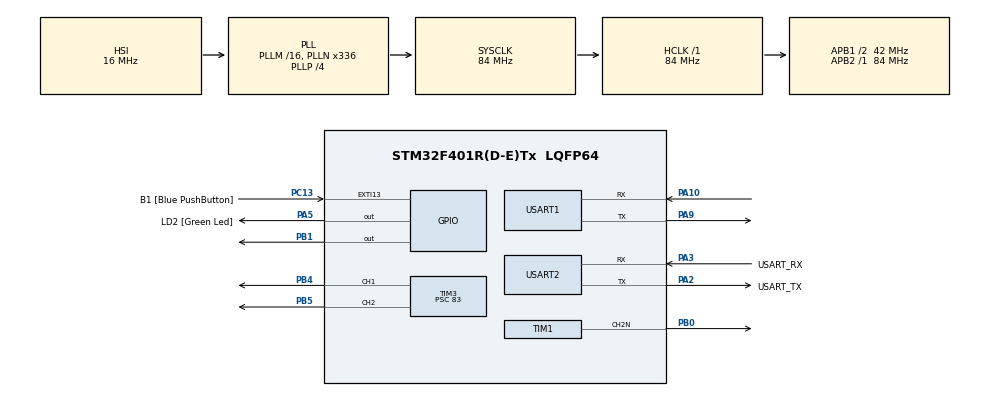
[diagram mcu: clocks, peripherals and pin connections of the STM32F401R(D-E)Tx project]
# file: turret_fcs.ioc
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Mcu.Family=STM32F4
Mcu.Name=STM32F401R(D-E)Tx
Mcu.Package=LQFP64
NVIC.EXTI15_10_IRQn=true\:0\:0\:true\:false\:true\:true\:true\:true
NVIC.PriorityGroup=NVIC_PRIORITYGROUP_0
NVIC.USART1_IRQn=true\:0\:0\:false\:false\:true\:true\:true\:true
NVIC.USART2_IRQn=true\:0\:1\:false\:false\:true\:true\:true\:true
PA10.Mode=Asynchronous
PA10.Signal=USART1_RX
PA13.GPIO_Label=TMS
PA13.Mode=Serial_Wire
PA13.Signal=SYS_JTMS-SWDIO
PA14.GPIO_Label=TCK
PA14.Mode=Serial_Wire
PA14.Signal=SYS_JTCK-SWCLK
PA2.GPIO_Label=USART_TX
PA2.GPIO_Mode=GPIO_MODE_AF_PP
PA2.GPIO_PuPd=GPIO_NOPULL
PA2.GPIO_Speed=GPIO_SPEED_FREQ_LOW
PA2.Mode=Asynchronous
PA2.Signal=USART2_TX
PA3.GPIO_Label=USART_RX
PA3.GPIO_Mode=GPIO_MODE_AF_PP
PA3.GPIO_PuPd=GPIO_NOPULL
PA3.GPIO_Speed=GPIO_SPEED_FREQ_LOW
PA3.Mode=Asynchronous
PA3.Signal=USART2_RX
PA5.GPIO_Label=LD2 [Green Led]
PA5.GPIO_Mode=GPIO_MODE_OUTPUT_PP
PA5.GPIO_PuPd=GPIO_NOPULL
PA5.GPIO_Speed=GPIO_SPEED_FREQ_LOW
PA5.Signal=GPIO_Output
PA9.Mode=Asynchronous
PA9.Signal=USART1_TX
PB0.Mode=PWM Generation2 CH2N
PB0.Signal=TIM1_CH2N
PB1.Signal=GPIO_Output
PB3.GPIO_Label=SWO
PB3.Signal=SYS_JTDO-SWO
PB4.Signal=S_TIM3_CH1
PB5.Signal=S_TIM3_CH2
PC13-ANTI_TAMP.GPIO_Label=B1 [Blue PushButton]
PC13-ANTI_TAMP.GPIO_ModeDefaultEXTI=GPIO_MODE_IT_FALLING
PC13-ANTI_TAMP.GPIO_PuPd=GPIO_PULLUP
PC13-ANTI_TAMP.Signal=GPXTI13
PC14-OSC32_IN.Signal=RCC_OSC32_IN
PC15-OSC32_OUT.Signal=RCC_OSC32_OUT
PH0\ -\ OSC_IN.Mode=HSE-External-Oscillator
PH0\ -\ OSC_IN.Signal=RCC_OSC_IN
PH1\ -\ OSC_OUT.Mode=HSE-External-Oscillator
PH1\ -\ OSC_OUT.Signal=RCC_OSC_OUT
ProjectManager.HeapSize=0x200
ProjectManager.StackSize=0x400
ProjectManager.TargetToolchain=STM32CubeIDE
RCC.AHBFreq_Value=84000000
RCC.APB1CLKDivider=RCC_HCLK_DIV2
RCC.APB1Freq_Value=42000000
RCC.APB1TimFreq_Value=84000000
RCC.APB2Freq_Value=84000000
RCC.APB2TimFreq_Value=84000000
RCC.CortexFreq_Value=84000000
RCC.HCLKFreq_Value=84000000
RCC.HSE_VALUE=8000000
RCC.HSI_VALUE=16000000
RCC.LSE_VALUE=32768
RCC.PLLN=336
RCC.PLLP=RCC_PLLP_DIV4
RCC.PLLQ=7
RCC.SYSCLKFreq_VALUE=84000000
RCC.SYSCLKSource=RCC_SYSCLKSOURCE_PLLCLK
RCC.VCOOutputFreq_Value=336000000
SH.S_TIM3_CH1.0=TIM3_CH1,PWM Generation1 CH1
SH.S_TIM3_CH2.0=TIM3_CH2,Output Compare2 CH2
TIM1.AutomaticOutput=TIM_AUTOMATICOUTPUT_ENABLE
TIM1.Channel-PWM\ Generation2\ CH2N=TIM_CHANNEL_2
TIM1.Period=4199
TIM3.Channel-Output\ Compare2\ CH2=TIM_CHANNEL_2
TIM3.Channel-PWM\ Generation1\ CH1=TIM_CHANNEL_1
TIM3.Period=19999
TIM3.Prescaler=83
USART1.VirtualMode=VM_ASYNC
USART2.VirtualMode=VM_ASYNC
board=NUCLEO-F401RE

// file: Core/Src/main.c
/* USER CODE BEGIN Header */
/**
  ******************************************************************************
  * @file           : main.c
  * @brief          : Turret FCS Main Controller Firmware
  *                   - TF-Luna LiDAR Reader (USART1)
  *                   - Full-Duplex Binary FCS Protocol (USART2)
  *                   - Pan/Tilt MG996R Servos (TIM3 / TIM1)
  ******************************************************************************
  */
/* USER CODE END Header */
#include "main.h"

/* USER CODE BEGIN Includes */
#include "luna_read.h"
#include "servo_driver.h"
#include "fcs_comm.h"
#include "flywheel_solenoid.h"
/* USER CODE END Includes */

/* USER CODE BEGIN PD */
/*
 * Fiziksel ates yolu guvenlik nedeniyle varsayilan olarak KAPALI.
 * Laboratuvar/donanim testinde acmak icin 1 yapin.
 */
#ifndef ENABLE_PHYSICAL_FIRE
#define ENABLE_PHYSICAL_FIRE 1
#endif

/*
 * Zaman Asimlari (ms)
 * - 300 ms: PC komut akisi kesildi -> firlaticiyi fail-safe durdur.
 * - 2000 ms: PC kalici olarak yok -> servolari yumusakca merkeze al.
 *            Aksi halde iki MG996R son konumda surekli stall akimi ceker.
 */
#define FCS_CMD_TIMEOUT_MS    300u
#define SERVO_PARK_TIMEOUT_MS 2000u

/*
 * Bagimsiz Watchdog (IWDG)
 * LSI ~32 kHz, prescaler /64 -> 500 Hz (2 ms/sayac), reload 400 -> 800 ms.
 * LSI toleransi (~17-47 kHz) nedeniyle gercek pencere ~540-1900 ms arasinda
 * degisir; bu, ~11 ms'lik dongu periyoduna karsi bolca marj birakir.
 */
#define IWDG_PRESCALER        IWDG_PRESCALER_64
#define IWDG_RELOAD_COUNTS    400u
/* USER CODE END PD */

TIM_HandleTypeDef htim1;
TIM_HandleTypeDef htim3;

UART_HandleTypeDef huart1;
UART_HandleTypeDef huart2;

/* USER CODE BEGIN PV */
IWDG_HandleTypeDef hiwdg;
/*
 * B1 mavi buton (PC13/EXTI13) mandalli yazilim E-stop'u:
 * Her basista mandal terslenir. Mandal aktifken PC komutlari yok sayilir,
 * launcher kesilir ve servolar hiz sinirli sekilde merkeze cekilir.
 */
static volatile bool b1_estop_latched = false;
static volatile bool b1_press_event = false;
static uint32_t b1_last_edge_ms = 0;
/* USER CODE END PV */

void SystemClock_Config(void);
static void MX_GPIO_Init(void);
static void MX_USART1_UART_Init(void);
static void MX_USART2_UART_Init(void);
static void MX_TIM1_Init(void);
static void MX_TIM3_Init(void);
/* USER CODE BEGIN PFP */
static void MX_IWDG_Init(void);

/* USER CODE END PFP */

int main(void)
{

  /* MCU Configuration--------------------------------------------------------*/

  /* Reset of all peripherals, Initializes the Flash interface and the Systick. */
  HAL_Init();

  /* USER CODE BEGIN Init */
  /* Watchdog'u mumkun olan en erken anda baslat: sonraki herhangi bir
     kilitlenme (saat yapilandirmasi dahil) artik reset ile kurtarilir. */
  MX_IWDG_Init();
  /* USER CODE END Init */

  /* Configure the system clock */
  SystemClock_Config();

  /* Initialize all configured peripherals */
  MX_GPIO_Init();
  MX_USART1_UART_Init();
  MX_USART2_UART_Init();
  MX_TIM1_Init();
  MX_TIM3_Init();
  /* USER CODE BEGIN 2 */
  /* Modulleri Baslat ---------------------------------------------------------*/
  Luna_Init(&huart1);
  FCS_Comm_Init(&huart2);
  Servo_Init();
  Launcher_Init(); // Pinleri guvenli PULLDOWN ve LOW (0V) durumuna kilitler

  uint32_t last_pc_cmd_time = HAL_GetTick();
  bool servos_park = false;  // Yumusak merkez donusu (E-stop veya link kaybi)
#if ENABLE_PHYSICAL_FIRE
  static uint8_t prev_fcs_state = PROTO_STATE_TRACKING;
#endif
  uint32_t last_led_time = 0;
  /* USER CODE END 2 */

  /* Infinite loop */
  while (1)
  {

    /* USER CODE BEGIN 3 */
    // 0. Watchdog beslemesi: dongu saglikliysa IWDG sayaci sifirlanir.
    //    Herhangi bir kilitlenmede IWDG reset atar ve pinler tekrar LOW'a cekilir.
    HAL_IWDG_Refresh(&hiwdg);

    // 1. Sabit ~100 Hz Periyodik Telemetri: LiDAR'dan bagimsiz periyodik gonderim
    // (LiDAR kopuk veya gecikmeli olsa bile servo geri bildirimi ve odometri asla kesilmez)
    uint16_t dist = Luna_GetDistance();
    uint16_t strength = Luna_GetStrength();
    FCS_Comm_SendTelemetry(dist, strength, Servo_GetPan(), Servo_GetTilt());

    // 2. B1 mavi buton: her basista E-stop mandalini degistir.
    //    Mandal aktifken PC komutlari yok sayilir; launcher kesilir ve servolar parka alinir.
    if (b1_press_event)
    {
      b1_press_event = false;
      b1_estop_latched = !b1_estop_latched;
      if (b1_estop_latched)
      {
        Launcher_EmergencyStop();
        servos_park = true;
#if ENABLE_PHYSICAL_FIRE
        prev_fcs_state = PROTO_STATE_TRACKING;
#endif
      }
      else
      {
        servos_park = false;
      }
    }
    if (b1_estop_latched)
    {
      Launcher_EmergencyStop();
      servos_park = true;
    }

    // 3. PC'den yeni aci duzeltme komutu geldiginde motorlari sur (Atomik okuma ile veri yarisi onlendi)
    float d_pan = 0.0f;
    float d_tilt = 0.0f;
    uint8_t speed_pwm = 0u;
    uint8_t state = 0;
    if (!b1_estop_latched && FCS_Comm_GetCommand(&d_pan, &d_tilt, &speed_pwm, &state))
    {
      last_pc_cmd_time = HAL_GetTick();
      if (state == PROTO_STATE_ESTOP)
      {
        /*
         * Acil Durdurma: firlaticiyi aninda kes, servolari ise BASAMAKSIZ
         * merkeze indir. Dogrudan Servo_SetPan(90) yazmak, MAX_STEP korumasini
         * atlayip servo uzerinde 45 dereceye varan ani tork sokuna yol aciyordu.
         * Artik merkeze inis Servo_HomeStep() ile hiz sinirli yapilir.
         */
        Launcher_EmergencyStop();
        servos_park = true;
#if ENABLE_PHYSICAL_FIRE
        prev_fcs_state = PROTO_STATE_TRACKING;  // E-stop sonrasi yanlis ates kenari olusmasin
#endif
      }
      else
      {
        servos_park = false;  // PC kontrolu geri aldi
        Servo_ApplyCorrection(d_pan, d_tilt);

#if ENABLE_PHYSICAL_FIRE
        /*
         * Ates tetigi, volan enable blogundan ONCE calisir. Aksi halde ayni
         * karede enerjilendirilen volan "hazir" sanilir ve dart devirsiz
         * firlatilirdi. Bu sira ile Launcher_TriggerFire() yalnizca volan
         * onceki karelerde (PC SPINUP fazinda) gercekten hazirsa ates eder.
         */
        if (state == PROTO_STATE_FIRING && prev_fcs_state != PROTO_STATE_FIRING)
        {
          (void)Launcher_TriggerFire();
        }
#endif

        /*
         * Flywheel pre-spin (bosta donme):
         * LOCKED (1) veya FIRING (2) durumunda volanlari enerjilendir.
         * PC'den gelen dinamik speed_pwm (%0-100 duty): 0 ise varsayilan %85 uygulanir.
         * TRACKING (0) veya ESTOP (3) durumunda volanlari kapat.
         */
        if (state == PROTO_STATE_LOCKED || state == PROTO_STATE_FIRING)
        {
          uint8_t target_duty = (speed_pwm > 0u) ? speed_pwm : FLYWHEEL_DEFAULT_DUTY_PCT;
          if (target_duty > 100u) target_duty = 100u;
          Launcher_Flywheel_SetDuty(target_duty);

          if (!Launcher_IsFlywheelActive())
          {
            Launcher_Flywheel_Enable(true);
          }
        }
        else
        {
          if (!Launcher_IsFiring() && Launcher_IsFlywheelActive())
          {
            Launcher_Flywheel_Enable(false);
          }
        }
      }
#if ENABLE_PHYSICAL_FIRE
      prev_fcs_state = (state == PROTO_STATE_ESTOP) ? PROTO_STATE_TRACKING : state;
#endif
    }

    // 4. Heartbeat: PC komut akisi kesilirse firlaticiyi fail-safe durdur.
    if (HAL_GetTick() - last_pc_cmd_time > FCS_CMD_TIMEOUT_MS)
    {
      Launcher_EmergencyStop();
#if ENABLE_PHYSICAL_FIRE
      prev_fcs_state = PROTO_STATE_TRACKING;  // Yeniden baglanmada yanlis ates kenari olusmasin
#endif
    }

    // 5. Uzun sureli PC kaybi: servolari yumusakca merkeze al.
    //    Aksi halde iki MG996R son konumda surekli stall akimi cekip isinir.
    if (HAL_GetTick() - last_pc_cmd_time > SERVO_PARK_TIMEOUT_MS)
    {
      servos_park = true;
    }

    // 6. Yumusak merkez donusu (E-stop veya link kaybi): hiz sinirli, basamaksiz.
    if (servos_park)
    {
      (void)Servo_HomeStep();
    }

    // 7. Sistem Kalp Atisi LED Gostergesi (500 ms periyot - ISR yukunu onler)
    if (HAL_GetTick() - last_led_time >= 500)
    {
      last_led_time = HAL_GetTick();
      HAL_GPIO_TogglePin(LD2_GPIO_Port, LD2_Pin);
    }

    // 8. Firlatici durum makinesi (non-blocking)
    Launcher_Update();

    HAL_Delay(10); // ~90-100 Hz kontrol dongusu (bloklayan telemetri TX dahil)
  }
  /* USER CODE END 3 */
}

void SystemClock_Config(void)
{
  RCC_OscInitTypeDef RCC_OscInitStruct = {0};
  RCC_ClkInitTypeDef RCC_ClkInitStruct = {0};

  /** Configure the main internal regulator output voltage
  */
  __HAL_RCC_PWR_CLK_ENABLE();
  __HAL_PWR_VOLTAGESCALING_CONFIG(PWR_REGULATOR_VOLTAGE_SCALE2);

  /** Initializes the RCC Oscillators according to the specified parameters
  * in the RCC_OscInitTypeDef structure.
  */
  RCC_OscInitStruct.OscillatorType = RCC_OSCILLATORTYPE_HSI;
  RCC_OscInitStruct.HSIState = RCC_HSI_ON;
  RCC_OscInitStruct.HSICalibrationValue = RCC_HSICALIBRATION_DEFAULT;
  RCC_OscInitStruct.PLL.PLLState = RCC_PLL_ON;
  RCC_OscInitStruct.PLL.PLLSource = RCC_PLLSOURCE_HSI;
  RCC_OscInitStruct.PLL.PLLM = 16;
  RCC_OscInitStruct.PLL.PLLN = 336;
  RCC_OscInitStruct.PLL.PLLP = RCC_PLLP_DIV4;
  RCC_OscInitStruct.PLL.PLLQ = 7;
  if (HAL_RCC_OscConfig(&RCC_OscInitStruct) != HAL_OK)
  {
    Error_Handler();
  }

  /** Initializes the CPU, AHB and APB buses clocks
  */
  RCC_ClkInitStruct.ClockType = RCC_CLOCKTYPE_HCLK|RCC_CLOCKTYPE_SYSCLK
                              |RCC_CLOCKTYPE_PCLK1|RCC_CLOCKTYPE_PCLK2;
  RCC_ClkInitStruct.SYSCLKSource = RCC_SYSCLKSOURCE_PLLCLK;
  RCC_ClkInitStruct.AHBCLKDivider = RCC_SYSCLK_DIV1;
  RCC_ClkInitStruct.APB1CLKDivider = RCC_HCLK_DIV2;
  RCC_ClkInitStruct.APB2CLKDivider = RCC_HCLK_DIV1;

  if (HAL_RCC_ClockConfig(&RCC_ClkInitStruct, FLASH_LATENCY_2) != HAL_OK)
  {
    Error_Handler();
  }
}

static void MX_TIM1_Init(void)
{

  TIM_MasterConfigTypeDef sMasterConfig = {0};
  TIM_OC_InitTypeDef sConfigOC = {0};
  TIM_BreakDeadTimeConfigTypeDef sBreakDeadTimeConfig = {0};

  htim1.Instance = TIM1;
  htim1.Init.Prescaler = 0;
  htim1.Init.CounterMode = TIM_COUNTERMODE_UP;
  htim1.Init.Period = 4199;
  htim1.Init.ClockDivision = TIM_CLOCKDIVISION_DIV1;
  htim1.Init.RepetitionCounter = 0;
  htim1.Init.AutoReloadPreload = TIM_AUTORELOAD_PRELOAD_DISABLE;
  if (HAL_TIM_PWM_Init(&htim1) != HAL_OK)
  {
    Error_Handler();
  }
  sMasterConfig.MasterOutputTrigger = TIM_TRGO_RESET;
  sMasterConfig.MasterSlaveMode = TIM_MASTERSLAVEMODE_DISABLE;
  if (HAL_TIMEx_MasterConfigSynchronization(&htim1, &sMasterConfig) != HAL_OK)
  {
    Error_Handler();
  }
  sConfigOC.OCMode = TIM_OCMODE_PWM1;
  sConfigOC.Pulse = 0;
  sConfigOC.OCPolarity = TIM_OCPOLARITY_HIGH;
  sConfigOC.OCNPolarity = TIM_OCNPOLARITY_HIGH;
  sConfigOC.OCFastMode = TIM_OCFAST_DISABLE;
  sConfigOC.OCIdleState = TIM_OCIDLESTATE_RESET;
  sConfigOC.OCNIdleState = TIM_OCNIDLESTATE_RESET;
  if (HAL_TIM_PWM_ConfigChannel(&htim1, &sConfigOC, TIM_CHANNEL_2) != HAL_OK)
  {
    Error_Handler();
  }
  sBreakDeadTimeConfig.OffStateRunMode = TIM_OSSR_DISABLE;
  sBreakDeadTimeConfig.OffStateIDLEMode = TIM_OSSI_DISABLE;
  sBreakDeadTimeConfig.LockLevel = TIM_LOCKLEVEL_OFF;
  sBreakDeadTimeConfig.DeadTime = 0;
  sBreakDeadTimeConfig.BreakState = TIM_BREAK_DISABLE;
  sBreakDeadTimeConfig.BreakPolarity = TIM_BREAKPOLARITY_HIGH;
  sBreakDeadTimeConfig.AutomaticOutput = TIM_AUTOMATICOUTPUT_ENABLE;
  if (HAL_TIMEx_ConfigBreakDeadTime(&htim1, &sBreakDeadTimeConfig) != HAL_OK)
  {
    Error_Handler();
  }
  HAL_TIM_MspPostInit(&htim1);

}

static void MX_TIM3_Init(void)
{

  TIM_MasterConfigTypeDef sMasterConfig = {0};
  TIM_OC_InitTypeDef sConfigOC = {0};

  htim3.Instance = TIM3;
  htim3.Init.Prescaler = 83;
  htim3.Init.CounterMode = TIM_COUNTERMODE_UP;
  htim3.Init.Period = 19999;
  htim3.Init.ClockDivision = TIM_CLOCKDIVISION_DIV1;
  htim3.Init.AutoReloadPreload = TIM_AUTORELOAD_PRELOAD_DISABLE;
  if (HAL_TIM_PWM_Init(&htim3) != HAL_OK)
  {
    Error_Handler();
  }
  if (HAL_TIM_OC_Init(&htim3) != HAL_OK)
  {
    Error_Handler();
  }
  sMasterConfig.MasterOutputTrigger = TIM_TRGO_RESET;
  sMasterConfig.MasterSlaveMode = TIM_MASTERSLAVEMODE_DISABLE;
  if (HAL_TIMEx_MasterConfigSynchronization(&htim3, &sMasterConfig) != HAL_OK)
  {
    Error_Handler();
  }
  sConfigOC.OCMode = TIM_OCMODE_PWM1;
  sConfigOC.Pulse = 0;
  sConfigOC.OCPolarity = TIM_OCPOLARITY_HIGH;
  sConfigOC.OCFastMode = TIM_OCFAST_DISABLE;
  if (HAL_TIM_PWM_ConfigChannel(&htim3, &sConfigOC, TIM_CHANNEL_1) != HAL_OK)
  {
    Error_Handler();
  }
  sConfigOC.OCMode = TIM_OCMODE_TIMING;
  if (HAL_TIM_OC_ConfigChannel(&htim3, &sConfigOC, TIM_CHANNEL_2) != HAL_OK)
  {
    Error_Handler();
  }
  HAL_TIM_MspPostInit(&htim3);

}

static void MX_USART1_UART_Init(void)
{

  huart1.Instance = USART1;
  huart1.Init.BaudRate = 115200;
  huart1.Init.WordLength = UART_WORDLENGTH_8B;
  huart1.Init.StopBits = UART_STOPBITS_1;
  huart1.Init.Parity = UART_PARITY_NONE;
  huart1.Init.Mode = UART_MODE_TX_RX;
  huart1.Init.HwFlowCtl = UART_HWCONTROL_NONE;
  huart1.Init.OverSampling = UART_OVERSAMPLING_16;
  if (HAL_UART_Init(&huart1) != HAL_OK)
  {
    Error_Handler();
  }

}

static void MX_USART2_UART_Init(void)
{

  huart2.Instance = USART2;
  huart2.Init.BaudRate = 115200;
  huart2.Init.WordLength = UART_WORDLENGTH_8B;
  huart2.Init.StopBits = UART_STOPBITS_1;
  huart2.Init.Parity = UART_PARITY_NONE;
  huart2.Init.Mode = UART_MODE_TX_RX;
  huart2.Init.HwFlowCtl = UART_HWCONTROL_NONE;
  huart2.Init.OverSampling = UART_OVERSAMPLING_16;
  if (HAL_UART_Init(&huart2) != HAL_OK)
  {
    Error_Handler();
  }

}

static void MX_GPIO_Init(void)
{
  GPIO_InitTypeDef GPIO_InitStruct = {0};

  /* GPIO Ports Clock Enable */
  __HAL_RCC_GPIOC_CLK_ENABLE();
  __HAL_RCC_GPIOH_CLK_ENABLE();
  __HAL_RCC_GPIOA_CLK_ENABLE();
  __HAL_RCC_GPIOB_CLK_ENABLE();

  /*Configure GPIO pin Output Level */
  HAL_GPIO_WritePin(LD2_GPIO_Port, LD2_Pin, GPIO_PIN_RESET);

  /*Configure GPIO pin Output Level */
  HAL_GPIO_WritePin(GPIOB, GPIO_PIN_1, GPIO_PIN_RESET);

  /*Configure GPIO pin : B1_Pin */
  GPIO_InitStruct.Pin = B1_Pin;
  GPIO_InitStruct.Mode = GPIO_MODE_IT_FALLING;
  GPIO_InitStruct.Pull = GPIO_PULLUP;
  HAL_GPIO_Init(B1_GPIO_Port, &GPIO_InitStruct);

  /*Configure GPIO pin : LD2_Pin */
  GPIO_InitStruct.Pin = LD2_Pin;
  GPIO_InitStruct.Mode = GPIO_MODE_OUTPUT_PP;
  GPIO_InitStruct.Pull = GPIO_NOPULL;
  GPIO_InitStruct.Speed = GPIO_SPEED_FREQ_LOW;
  HAL_GPIO_Init(LD2_GPIO_Port, &GPIO_InitStruct);

  /*Configure GPIO pin : PB1 */
  GPIO_InitStruct.Pin = GPIO_PIN_1;
  GPIO_InitStruct.Mode = GPIO_MODE_OUTPUT_PP;
  GPIO_InitStruct.Pull = GPIO_NOPULL;
  GPIO_InitStruct.Speed = GPIO_SPEED_FREQ_LOW;
  HAL_GPIO_Init(GPIOB, &GPIO_InitStruct);

  /* EXTI interrupt init*/
  HAL_NVIC_SetPriority(EXTI15_10_IRQn, 0, 0);
  HAL_NVIC_EnableIRQ(EXTI15_10_IRQn);

}

/* USER CODE BEGIN 4 */
/**
  * @brief IWDG Initialization Function (Bagimsiz Watchdog, ~800 ms)
  */
static void MX_IWDG_Init(void)
{
  hiwdg.Instance = IWDG;
  hiwdg.Init.Prescaler = IWDG_PRESCALER;
  hiwdg.Init.Reload = IWDG_RELOAD_COUNTS;
  if (HAL_IWDG_Init(&hiwdg) != HAL_OK)
  {
    Error_Handler();
  }

#if defined(DEBUG)
  __HAL_DBGMCU_FREEZE_IWDG();
#endif
}

/**
  * @brief UART Kesme Callback (Tum alimlar modullere yonlendirilir)
  */
void HAL_UART_RxCpltCallback(UART_HandleTypeDef *huart)
{
  if (huart->Instance == USART1)
  {
    Luna_RxCallback(huart);
  }
  else if (huart->Instance == USART2)
  {
    FCS_Comm_RxCallback(huart);
  }
}

/**
  * @brief UART Hata Callback (ORE ve Gurultu kilidi cozumleyici)
  */
void HAL_UART_ErrorCallback(UART_HandleTypeDef *huart)
{
  if (huart->Instance == USART1)
  {
    Luna_HandleError();
  }
  else if (huart->Instance == USART2)
  {
    FCS_Comm_HandleError();
  }
}

/**
  * @brief EXTI Callback (B1 mavi buton: mandalli yazilim E-stop)
  *
  * Buton aktif-low ve dahili pull-up ile okunur. Mekanik sicramayi elemek icin
  * 250 ms debounce uygulanir; gercek islem ana dongude yapilir (ISR kisa kalir).
  */
void HAL_GPIO_EXTI_Callback(uint16_t GPIO_Pin)
{
  if (GPIO_Pin == B1_Pin)
  {
    uint32_t now = HAL_GetTick();
    if (b1_last_edge_ms == 0u || (now - b1_last_edge_ms) >= 250u)
    {
      b1_last_edge_ms = now;
      b1_press_event = true;
    }
  }
}
/* USER CODE END 4 */

void Error_Handler(void)
{
  /* USER CODE BEGIN Error_Handler_Debug */
  __disable_irq();
  // Donanim Guvenligi: Solenoid ve Volan pinlerini aninda sifirla (bobin ve MOSFET korumasi)
  HAL_GPIO_WritePin(FLYWHEEL_GPIO_PORT, FLYWHEEL_PIN, GPIO_PIN_RESET);
  HAL_GPIO_WritePin(SOLENOID_GPIO_PORT, SOLENOID_PIN, GPIO_PIN_RESET);

  // Watchdog bilincli olarak BESLENMEZ: IWDG ~800 ms icinde reset atar,
  // boylece cihaz kalici olarak kilitli kalmaz; acilista pinler tekrar LOW'a cekilir.
  while (1)
  {
  }
  /* USER CODE END Error_Handler_Debug */
}
